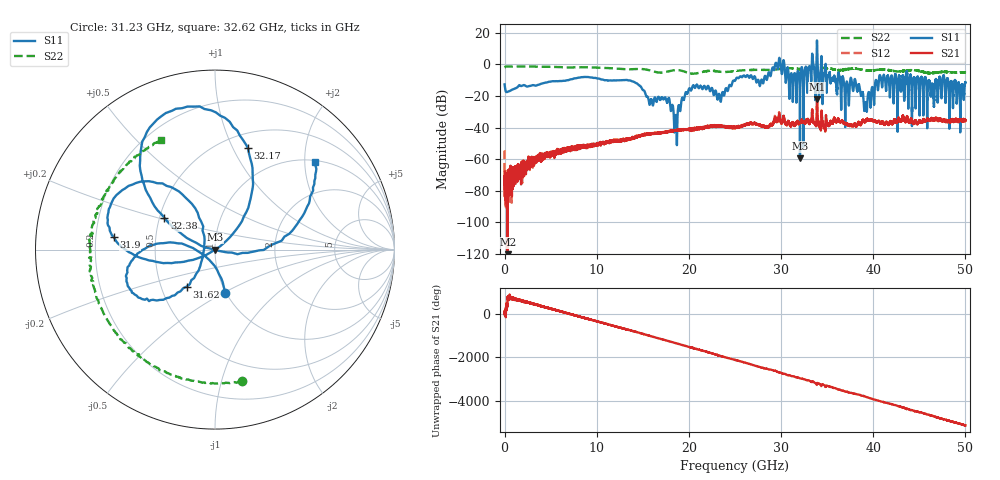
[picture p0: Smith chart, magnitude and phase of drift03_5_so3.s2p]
!Created with skrf (http://scikit-rf.org).
# Hz S RI R 50.0
!freq ReS11 ImS11 ReS21 ImS21 ReS12 ImS12 ReS22 ImS22
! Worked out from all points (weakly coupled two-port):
!   10001 points, 300 kHz to 50 GHz, reference 50 ohm
!   highest |S21| = -22.18 dB at 33.9 GHz (marker M1); lowest = -130.7 dB at 330.3 MHz (marker M2)
!   lowest |S11| = -59.5 dB at 32.05 GHz (marker M3), VSWR 1.00, Z = 50 - j0.0961 ohm
!   |S11| at or under -10 dB: start of sweep to 6.958 GHz; 13.32 GHz to 25.05 GHz (11.72 GHz wide, 61.1 % of centre); 38.05 GHz to 40.27 GHz (2.216 GHz wide, 5.66 % of centre) (the widest 3 of 68)
!   |S22| runs from -5.9 to -1.3 dB; largest |S21 - S12| = 0.0081
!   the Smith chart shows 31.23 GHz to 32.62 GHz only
!   S11 on the Smith chart (normalised r, x): 31.23 GHz: 0.99, -0.52; 31.62 GHz: 0.68, -0.30; 31.9 GHz: 0.28, +0.06; 32.17 GHz: 0.66, +1.15; 32.38 GHz: 0.53, +0.21; 32.62 GHz: 1.03, +2.25
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300000  -0.2099 -0.0972  -0.0001 0.000398  0.000984 0.00162  -0.7648 -0.1776
3.30298e8  -0.1019 0.0885  1.64e-07 -2.41e-07  1.17e-05 6.25e-05  -0.665 0.5247
1.535291e9  0.2046 0.0431  6.52e-05 -0.00064  -0.000188 -0.000358  0.8482 0.0758
3.160281e9  -0.2185 -0.0081  9.53e-05 0.000725  0.00012 0.00101  -0.8445 -0.0241
4.665272e9  0.2635 0.0603  -0.000175 -0.00139  -7.46e-05 -0.00143  0.8181 0.1407
8.33525e9  0.2837 -0.2683  -0.00213 -0.000908  -0.0024 -0.000916  0.5993 -0.5363
9.585242e9  -0.3711 -0.0398  0.00146 0.00239  0.00154 0.00244  -0.7867 -0.0765
1.123023e10  0.3047 0.0318  -0.00242 -0.00249  -0.00228 -0.00281  0.7557 0.0405
1.66702e10  0.0546 0.075  0.00454 -0.00496  0.00447 -0.00495  -0.3518 0.4218
2.500015e10  -0.2979 -0.0463  0.0077 0.00634  0.00787 0.00603  -0.1901 -0.5775
2.964012e10  0.2675 0.6593  -0.0151 -0.00699  -0.0149 -0.00665  0.0348 0.6941
3.122511e10  0.0573 -0.2443  0.0142 0.00217  0.0135 0.00273  0.1485 -0.7325
3.161511e10  -0.1569 -0.2058  0.0105 -0.00778  0.0111 -0.00809  -0.3711 -0.6292
3.189511e10  -0.5643 0.069  0.00774 -0.0112  0.00777 -0.0104  -0.6349 -0.324
3.205011e10  -0.000454 -0.000962  0.0022 -0.0149  0.00142 -0.0148  -0.6932 -0.1102
3.216511e10  0.1843 0.5641  -0.00122 -0.0147  -0.00208 -0.0157  -0.6899 0.0642
3.237511e10  -0.2824 0.1776  -0.00639 -0.0128  -0.00655 -0.0133  -0.5765 0.3667
3.26201e10  0.5573 0.4907  -0.0109 -0.00723  -0.0118 -0.00695  -0.3 0.6088
3.33351e10  0.3912 -0.9989  -0.00388 0.0249  -0.00515 0.0238  0.6149 0.36
3.39001e10  1.42 -5.189  0.0702 0.0336  0.0669 0.0308  0.6656 -0.3307
4.167005e10  -0.2039 0.2828  -0.0116 -0.00484  -0.0112 -0.00493  -0.6532 -0.0475
5e10  -0.1574 -0.2196  0.000789 -0.0166  0.000736 -0.0171  0.4601 -0.32
